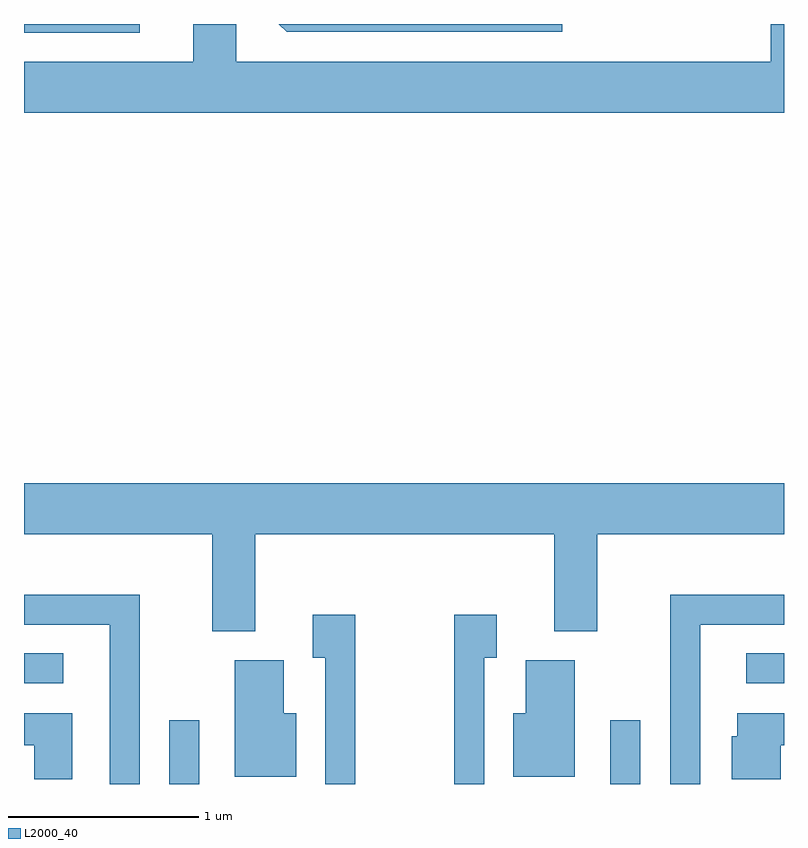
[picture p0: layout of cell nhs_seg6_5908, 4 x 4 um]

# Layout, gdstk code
import gdstk
lib = gdstk.Library(unit=1e-6, precision=1e-09)
def R(c, l, rs):  # rectangles x0, y0, x1, y1
    for r in rs: c.add(gdstk.rectangle(r[:2], r[2:], *l))
def P(c, l, *ps):  # polygons
    for p in ps: c.add(gdstk.Polygon(p, *l))
L2000_40 = (2000, 40)

nhs_seg6_5908 = lib.new_cell('nhs_seg6_5908')
R(nhs_seg6_5908, L2000_40, [(364.376,1664.162,364.534,1664.498), (366.696,1664.162,366.854,1664.498), (363.611,1664.691,363.818,1664.849), (367.413,1664.691,367.611,1664.849), (363.611,1668.116,364.219,1668.162)])
P(nhs_seg6_5908, L2000_40, [(367.611,1668.162),(367.541,1668.162),(367.541,1667.964),(364.729,1667.964),(364.729,1668.162),(364.501,1668.162),(364.501,1667.964),(363.611,1667.964),(363.611,1667.696),(367.611,1667.696)],
  [(366.444,1668.162),(364.953,1668.162),(364.994,1668.121),(366.444,1668.121)],
  [(364.829,1665.476),(366.401,1665.476),(366.401,1664.966),(366.629,1664.966),(366.629,1665.476),(367.611,1665.476),(367.611,1665.744),(363.611,1665.744),(363.611,1665.476),(364.601,1665.476),(364.601,1664.966),(364.829,1664.966)],
  [(364.219,1665.159),(363.611,1665.159),(363.611,1665.001),(364.061,1665.001),(364.061,1664.162),(364.219,1664.162)],
  [(367.169,1665.001),(367.611,1665.001),(367.611,1665.159),(367.011,1665.159),(367.011,1664.162),(367.169,1664.162)],
  [(366.034,1664.826),(366.099,1664.826),(366.099,1665.054),(365.876,1665.054),(365.876,1664.162),(366.034,1664.162)],
  [(365.354,1665.054),(365.131,1665.054),(365.131,1664.826),(365.196,1664.826),(365.196,1664.162),(365.354,1664.162)],
  [(366.509,1664.814),(366.251,1664.814),(366.251,1664.534),(366.186,1664.534),(366.186,1664.201),(366.509,1664.201)],
  [(365.044,1664.534),(364.979,1664.534),(364.979,1664.814),(364.721,1664.814),(364.721,1664.201),(365.044,1664.201)],
  [(363.864,1664.534),(363.611,1664.534),(363.611,1664.366),(363.666,1664.366),(363.666,1664.186),(363.864,1664.186)],
  [(367.594,1664.366),(367.611,1664.366),(367.611,1664.534),(367.366,1664.534),(367.366,1664.414),(367.336,1664.414),(367.336,1664.186),(367.594,1664.186)])

lib.write_gds('nhs_seg6_5908.gds')
